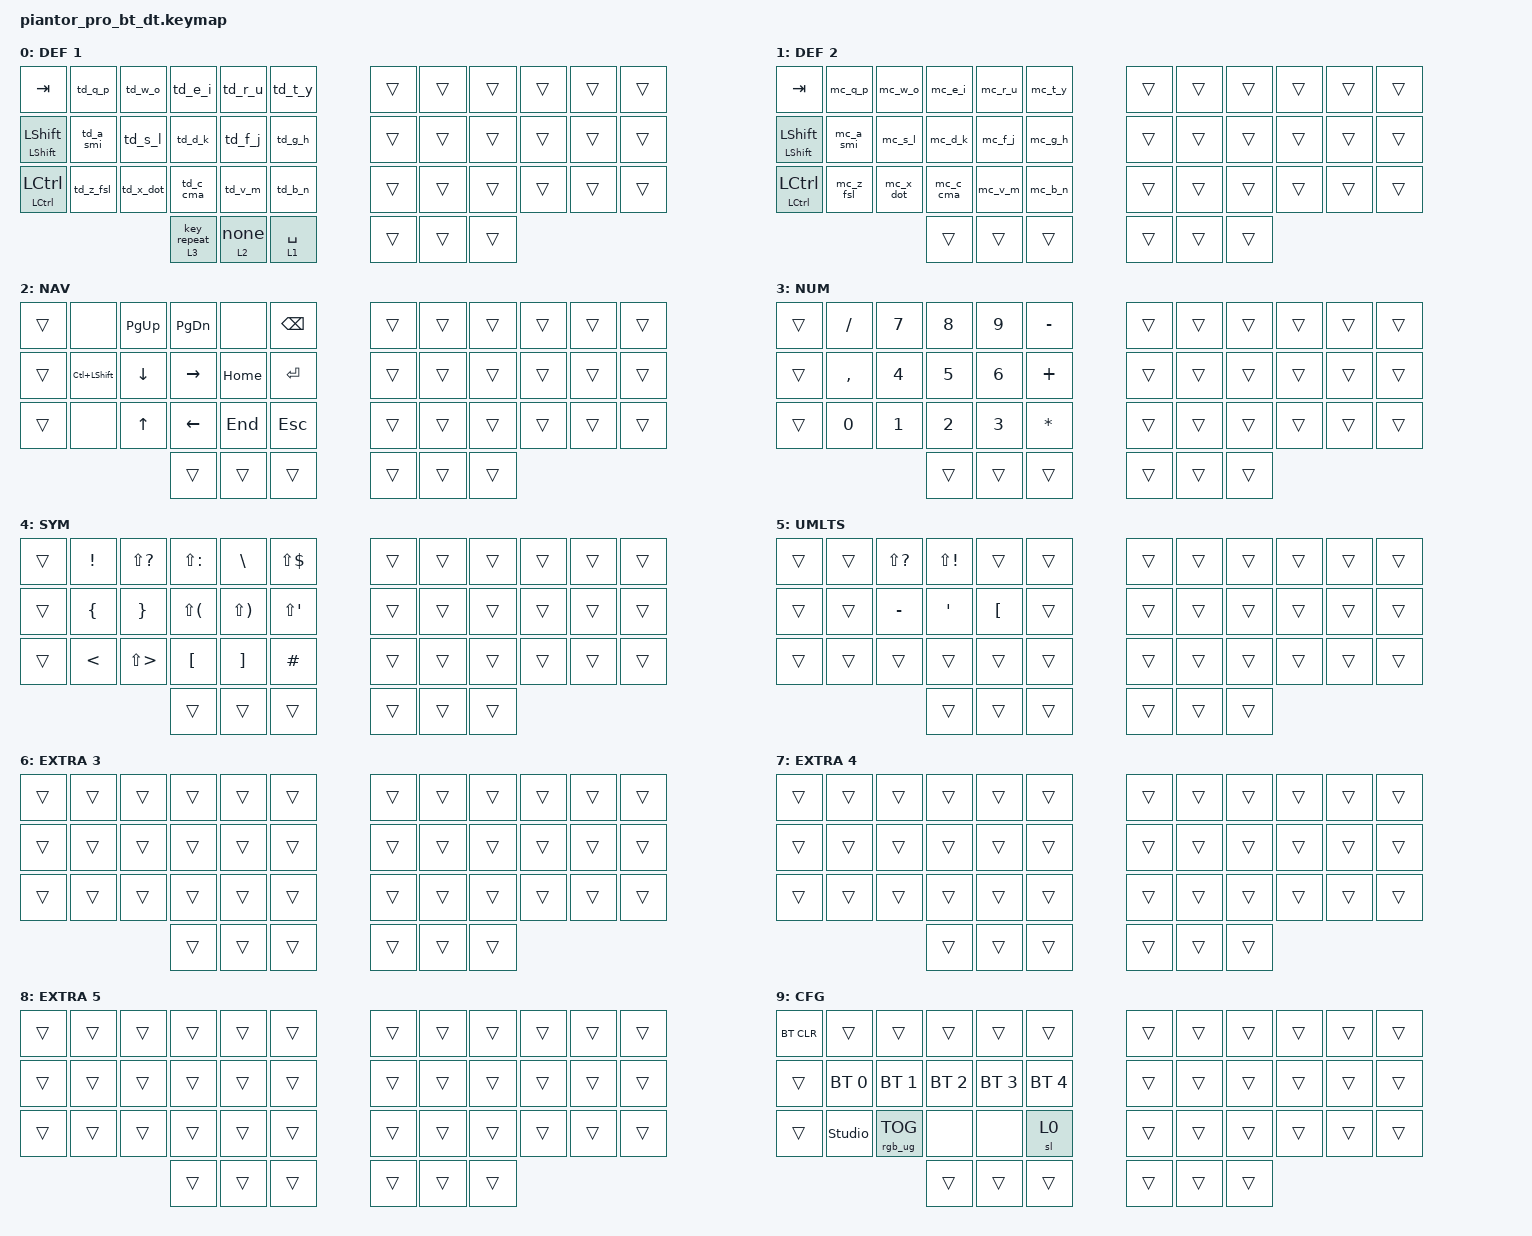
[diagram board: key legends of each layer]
/*
 * Copyright (c) 2020 The ZMK Contributors
 *
 * SPDX-License-Identifier: MIT
 */

#include <behaviors.dtsi>
#include <dt-bindings/zmk/bt.h>
#include <dt-bindings/zmk/keys.h>
#include <dt-bindings/zmk/rgb.h>

/ {
    chosen { zmk,physical-layout = &default_layout; };
};

/ {
    behaviors {
        td_q_p: tap_dance_q_p {
            compatible = "zmk,behavior-tap-dance";
            #binding-cells = <0>;
            tapping-term-ms = <400>;
            bindings = <&kp Q>, <&kp P>;
        };

        td_w_o: tap_dance_w_o {
            compatible = "zmk,behavior-tap-dance";
            #binding-cells = <0>;
            tapping-term-ms = <400>;
            bindings = <&kp W>, <&kp O>;
        };

        td_e_i: tap_dance_e_i {
            compatible = "zmk,behavior-tap-dance";
            #binding-cells = <0>;
            tapping-term-ms = <400>;
            bindings = <&kp E>, <&kp I>;
        };

        td_r_u: tap_dance_r_u {
            compatible = "zmk,behavior-tap-dance";
            #binding-cells = <0>;
            tapping-term-ms = <400>;
            bindings = <&kp R>, <&kp U>;
        };

        td_t_y: tap_dance_t_y {
            compatible = "zmk,behavior-tap-dance";
            #binding-cells = <0>;
            tapping-term-ms = <400>;
            bindings = <&kp T>, <&kp Y>;
        };

        td_a_smi: tap_dance_a_semi {
            compatible = "zmk,behavior-tap-dance";
            #binding-cells = <0>;
            tapping-term-ms = <400>;
            bindings = <&kp A>, <&kp SEMI>;
        };

        td_s_l: tap_dance_s_l {
            compatible = "zmk,behavior-tap-dance";
            #binding-cells = <0>;
            tapping-term-ms = <400>;
            bindings = <&kp S>, <&kp L>;
        };

        td_d_k: tap_dance_d_k {
            compatible = "zmk,behavior-tap-dance";
            #binding-cells = <0>;
            tapping-term-ms = <400>;
            bindings = <&kp D>, <&kp K>;
        };

        td_f_j: tap_dance_f_j {
            compatible = "zmk,behavior-tap-dance";
            #binding-cells = <0>;
            tapping-term-ms = <400>;
            bindings = <&kp F>, <&kp J>;
        };

        td_g_h: tap_dance_g_h {
            compatible = "zmk,behavior-tap-dance";
            #binding-cells = <0>;
            tapping-term-ms = <400>;
            bindings = <&kp G>, <&kp H>;
        };

        td_z_fsl: tap_dance_z_fslh {
            compatible = "zmk,behavior-tap-dance";
            #binding-cells = <0>;
            tapping-term-ms = <400>;
            bindings = <&kp Z>, <&kp FSLH>;
        };

        td_x_dot: tap_dance_x_dot {
            compatible = "zmk,behavior-tap-dance";
            #binding-cells = <0>;
            tapping-term-ms = <400>;
            bindings = <&kp X>, <&kp DOT>;
        };

        td_c_cma: tap_dance_c_comma {
            compatible = "zmk,behavior-tap-dance";
            #binding-cells = <0>;
            tapping-term-ms = <400>;
            bindings = <&kp C>, <&kp COMMA>;
        };

        td_v_m: tap_dance_v_m {
            compatible = "zmk,behavior-tap-dance";
            #binding-cells = <0>;
            tapping-term-ms = <400>;
            bindings = <&kp V>, <&kp M>;
        };

        td_b_n: tap_dance_b_n {
            compatible = "zmk,behavior-tap-dance";
            #binding-cells = <0>;
            tapping-term-ms = <400>;
            bindings = <&kp B>, <&kp N>;
        };

        td_mo1_mo2: tap_dance_mod_select {
            compatible = "zmk,behavior-tap-dance";
            #binding-cells = <0>;
            tapping-term-ms = <400>;
            bindings = <&mo 1>, <&mo 2>;
        };

        td_spc_ent: tap_dance_space_enter {
            compatible = "zmk,behavior-tap-dance";
            #binding-cells = <0>;
            tapping-term-ms = <400>;
            bindings = <&kp SPACE>, <&kp RET>;
        };

        lt_non: layer_tap_none {
            compatible = "zmk,behavior-hold-tap";
            #binding-cells = <2>;
            flavor = "tap-preferred";
            tapping-term-ms = <200>;
            bindings = <&mo>, <&none>;
        };

        lt_rep: layer_tap_key_repeat {
            compatible = "zmk,behavior-hold-tap";
            #binding-cells = <2>;
            flavor = "tap-preferred";
            tapping-term-ms = <200>;
            bindings = <&mo>, <&key_repeat>;
        };

        lt_umlts: lt_umlts {
            compatible = "zmk,behavior-hold-tap";
            #binding-cells = <2>;
            flavor = "tap-preferred";
            tapping-term-ms = <250>;
            bindings = <&mo>, <&td_a_smi>;
        };

        mt_umlts: mt_umlts {
            compatible = "zmk,behavior-hold-tap";
            #binding-cells = <2>;
            flavor = "tap-preferred";
            tapping-term-ms = <250>;
            bindings = <&mo>, <&kp>;
        };

        st_l: st_l {
            compatible = "zmk,behavior-hold-tap";
            #binding-cells = <2>;
            flavor = "tap-preferred";
            tapping-term-ms = <200>;
            bindings = <&mo>, <&sl>;
        };

        sk_lng: sk_long {
            compatible = "zmk,behavior-sticky-key";
            bindings = <&kp>;
            #binding-cells = <1>;
            ignore-modifiers;
            release-after-ms = <2000>;
        };

        st: st {
            compatible = "zmk,behavior-hold-tap";
            #binding-cells = <2>;
            flavor = "tap-preferred";
            tapping-term-ms = <250>;
            bindings = <&kp>, <&sk_lng>;
        };
    };

    combos {
        compatible = "zmk,combos";

        cfg_combo {
            bindings = <&sl 9>;
            key-positions = <2 3 4>;
        };
    };

    macros {
        mc_q_p: macro_q_p {
        compatible = "zmk,behavior-macro";
        #binding-cells = <0>;
        bindings = <&kp Q &kp P>;
        };

        mc_w_o: macro_w_o {
        compatible = "zmk,behavior-macro";
        #binding-cells = <0>;
        bindings = <&kp W &kp O>;
        };

        mc_e_i: macro_e_i {
        compatible = "zmk,behavior-macro";
        #binding-cells = <0>;
        bindings = <&kp E &kp I>;
        };

        mc_r_u: macro_r_u {
        compatible = "zmk,behavior-macro";
        #binding-cells = <0>;
        bindings = <&kp R &kp U>;
        };

        mc_t_y: macro_t_y {
        compatible = "zmk,behavior-macro";
        #binding-cells = <0>;
        bindings = <&kp T &kp Y>;
        };

        mc_a_smi: macro_a_smi {
        compatible = "zmk,behavior-macro";
        #binding-cells = <0>;
        bindings = <&kp A &kp SEMI>;
        };

        mc_s_l: macro_s_l {
        compatible = "zmk,behavior-macro";
        #binding-cells = <0>;
        bindings = <&kp S &kp L>;
        };

        mc_d_k: macro_d_k {
        compatible = "zmk,behavior-macro";
        #binding-cells = <0>;
        bindings = <&kp D &kp K>;
        };

        mc_f_j: macro_f_j {
        compatible = "zmk,behavior-macro";
        #binding-cells = <0>;
        bindings = <&kp F &kp J>;
        };

        mc_g_h: macro_g_h {
        compatible = "zmk,behavior-macro";
        #binding-cells = <0>;
        bindings = <&kp G &kp H>;
        };

        mc_z_fsl: macro_z_fsl {
        compatible = "zmk,behavior-macro";
        #binding-cells = <0>;
        bindings = <&kp Z &kp FSLH>;
        };

        mc_x_dot: macro_x_dot {
        compatible = "zmk,behavior-macro";
        #binding-cells = <0>;
        bindings = <&kp X &kp DOT>;
        };

        mc_c_cma: macro_c_cma {
        compatible = "zmk,behavior-macro";
        #binding-cells = <0>;
        bindings = <&kp C &kp COMMA>;
        };

        mc_v_m: macro_v_m {
        compatible = "zmk,behavior-macro";
        #binding-cells = <0>;
        bindings = <&kp V &kp M>;
        };

        mc_b_n: macro_b_n {
        compatible = "zmk,behavior-macro";
        #binding-cells = <0>;
        bindings = <&kp B &kp N>;
        };
    };

    keymap {
        compatible = "zmk,keymap";

        default_layer_1 {
            display-name = "DEF 1";
            bindings = <
&kp TAB          &td_q_p    &td_w_o  &td_e_i  &td_r_u  &td_t_y  &trans  &trans  &trans  &trans  &trans  &trans  
&st LSHFT LSHFT  &td_a_smi  &td_s_l  &td_d_k  &td_f_j  &td_g_h  &trans  &trans  &trans  &trans  &trans  &trans  
&st LCTRL LCTRL  &td_z_fsl  &td_x_dot  &td_c_cma  &td_v_m  &td_b_n  &trans  &trans  &trans  &trans  &trans  &trans  
&lt_rep 3 0  &lt_non 2 0  &lt 1 SPACE  &trans  &trans  &trans
            >;
        };

        default_layer_2 {
            display-name = "DEF 2";
            bindings = <
&kp TAB          &mc_q_p    &mc_w_o  &mc_e_i  &mc_r_u  &mc_t_y  &trans  &trans  &trans  &trans  &trans  &trans  
&st LSHFT LSHFT  &mc_a_smi  &mc_s_l  &mc_d_k  &mc_f_j  &mc_g_h  &trans  &trans  &trans  &trans  &trans  &trans  
&st LCTRL LCTRL  &mc_z_fsl  &mc_x_dot  &mc_c_cma  &mc_v_m  &mc_b_n  &trans  &trans  &trans  &trans  &trans  &trans  
&trans  &trans  &trans  &trans  &trans  &trans
            >;
        };

        nav_layer {
            display-name = "NAV";
            bindings = <
&trans  &none  &kp PG_UP  &kp PG_DN  &none  &kp BACKSPACE  &trans  &trans  &trans  &trans  &trans  &trans  &trans  &kp LC(LEFT_SHIFT)  &kp DOWN  &kp RIGHT  &kp HOME  &kp ENTER  &trans  &trans  &trans  &trans  &trans  &trans  &trans  &none  &kp UP  &kp LEFT  &kp END  &kp ESCAPE  &trans  &trans  &trans  &trans  &trans  &trans  &trans  &trans  &trans  &trans  &trans  &trans
            >;
        };

        number_layer {
            display-name = "NUM";
            bindings = <
&trans  &kp SLASH  &kp N7  &kp N8  &kp N9  &kp MINUS  &trans  &trans  &trans  &trans  &trans  &trans  &trans  &kp COMMA  &kp N4  &kp N5  &kp N6  &kp PLUS  &trans  &trans  &trans  &trans  &trans  &trans  &trans  &kp N0  &kp N1  &kp N2  &kp N3  &kp ASTERISK  &trans  &trans  &trans  &trans  &trans  &trans  &trans  &trans  &trans  &trans  &trans  &trans
            >;
        };

        symbol_layer {
            display-name = "SYM";
            bindings = <
&trans  &kp EXCL  &kp LS(QMARK)  &kp LS(COLON)  &kp BSLH  &kp LS(DLLR)  &trans  &trans  &trans  &trans  &trans  &trans  &trans  &kp LBRC  &kp RBRC  &kp LS(LPAR)  &kp LS(RPAR)  &kp LS(SQT)  &trans  &trans  &trans  &trans  &trans  &trans  &trans  &kp LT  &kp LS(GT)  &kp LBKT  &kp RBKT  &kp POUND  &trans  &trans  &trans  &trans  &trans  &trans  &trans  &trans  &trans  &trans  &trans  &trans
            >;
        };

        umlauts_layer {
            display-name = "UMLTS";
            bindings = <
&trans  &trans  &kp LS(QMARK)  &kp LS(EXCL)  &trans  &trans  &trans  &trans  &trans  &trans  &trans  &trans  &trans  &trans  &kp MINUS  &kp APOS  &kp LBKT  &trans  &trans  &trans  &trans  &trans  &trans  &trans  &trans  &trans  &trans  &trans  &trans  &trans  &trans  &trans  &trans  &trans  &trans  &trans  &trans  &trans  &trans  &trans  &trans  &trans
            >;
        };

        extra_layer_3 {
            display-name = "EXTRA 3";
            bindings = <
&trans  &trans  &trans  &trans  &trans  &trans  &trans  &trans  &trans  &trans  &trans  &trans  &trans  &trans  &trans  &trans  &trans  &trans  &trans  &trans  &trans  &trans  &trans  &trans  &trans  &trans  &trans  &trans  &trans  &trans  &trans  &trans  &trans  &trans  &trans  &trans  &trans  &trans  &trans  &trans  &trans  &trans
            >;
        };

        extra_layer_4 {
            display-name = "EXTRA 4";
            bindings = <
&trans  &trans  &trans  &trans  &trans  &trans  &trans  &trans  &trans  &trans  &trans  &trans  &trans  &trans  &trans  &trans  &trans  &trans  &trans  &trans  &trans  &trans  &trans  &trans  &trans  &trans  &trans  &trans  &trans  &trans  &trans  &trans  &trans  &trans  &trans  &trans  &trans  &trans  &trans  &trans  &trans  &trans
            >;
        };

        extra_layer_5 {
            display-name = "EXTRA 5";
            bindings = <
&trans  &trans  &trans  &trans  &trans  &trans  &trans  &trans  &trans  &trans  &trans  &trans  &trans  &trans  &trans  &trans  &trans  &trans  &trans  &trans  &trans  &trans  &trans  &trans  &trans  &trans  &trans  &trans  &trans  &trans  &trans  &trans  &trans  &trans  &trans  &trans  &trans  &trans  &trans  &trans  &trans  &trans
            >;
        };

        config_layer {
            display-name = "CFG";
            bindings = <
&bt BT_CLR  &trans  &trans  &trans  &trans  &trans  &trans  &trans  &trans  &trans  &trans  &trans  &trans  &bt BT_SEL 0  &bt BT_SEL 1  &bt BT_SEL 2  &bt BT_SEL 3  &bt BT_SEL 4  &trans  &trans  &trans  &trans  &trans  &trans  &trans  &studio_unlock  &rgb_ug RGB_TOG  &none  &none  &sl 0  &trans  &trans  &trans  &trans  &trans  &trans  &trans  &trans  &trans  &trans  &trans  &trans
            >;
        };
    };
};
